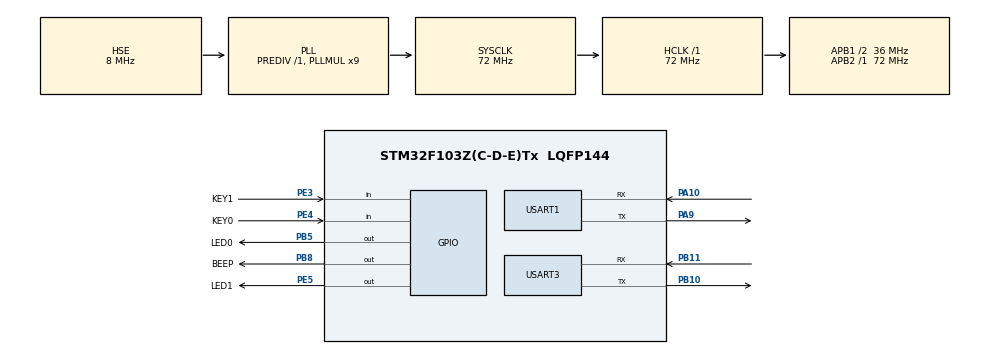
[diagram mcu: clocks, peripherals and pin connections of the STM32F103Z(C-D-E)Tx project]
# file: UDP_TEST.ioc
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Mcu.Family=STM32F1
Mcu.Name=STM32F103Z(C-D-E)Tx
Mcu.Package=LQFP144
NVIC.PriorityGroup=NVIC_PRIORITYGROUP_4
NVIC.USART3_IRQn=true\:0\:0\:false\:false\:true\:true\:true\:true
OSC_IN.Mode=HSE-External-Oscillator
OSC_IN.Signal=RCC_OSC_IN
OSC_OUT.Mode=HSE-External-Oscillator
OSC_OUT.Signal=RCC_OSC_OUT
PA10.Mode=Asynchronous
PA10.Signal=USART1_RX
PA13.Mode=Serial_Wire
PA13.Signal=SYS_JTMS-SWDIO
PA14.Mode=Serial_Wire
PA14.Signal=SYS_JTCK-SWCLK
PA9.Mode=Asynchronous
PA9.Signal=USART1_TX
PB10.Mode=Asynchronous
PB10.Signal=USART3_TX
PB11.Mode=Asynchronous
PB11.Signal=USART3_RX
PB5.GPIO_Label=LED0
PB5.GPIO_Speed=GPIO_SPEED_FREQ_HIGH
PB5.Signal=GPIO_Output
PB8.GPIO_Label=BEEP
PB8.Signal=GPIO_Output
PC14-OSC32_IN.Mode=LSE-External-Oscillator
PC14-OSC32_IN.Signal=RCC_OSC32_IN
PC15-OSC32_OUT.Mode=LSE-External-Oscillator
PC15-OSC32_OUT.Signal=RCC_OSC32_OUT
PE3.GPIO_Label=KEY1
PE3.GPIO_PuPd=GPIO_PULLUP
PE3.Signal=GPIO_Input
PE4.GPIO_Label=KEY0
PE4.GPIO_PuPd=GPIO_PULLUP
PE4.Signal=GPIO_Input
PE5.GPIO_Label=LED1
PE5.GPIO_Speed=GPIO_SPEED_FREQ_HIGH
PE5.PinState=GPIO_PIN_RESET
PE5.Signal=GPIO_Output
ProjectManager.HeapSize=0x200
ProjectManager.StackSize=0x400
ProjectManager.TargetToolchain=MDK-ARM V5
RCC.AHBFreq_Value=72000000
RCC.APB1CLKDivider=RCC_HCLK_DIV2
RCC.APB1Freq_Value=36000000
RCC.APB1TimFreq_Value=72000000
RCC.APB2Freq_Value=72000000
RCC.APB2TimFreq_Value=72000000
RCC.HCLKFreq_Value=72000000
RCC.PLLMUL=RCC_PLL_MUL9
RCC.PLLSourceVirtual=RCC_PLLSOURCE_HSE
RCC.SYSCLKFreq_VALUE=72000000
RCC.SYSCLKSource=RCC_SYSCLKSOURCE_PLLCLK
RCC.USBFreq_Value=72000000
USART1.VirtualMode=VM_ASYNC
USART3.VirtualMode=VM_ASYNC
board=custom

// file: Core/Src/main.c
/* USER CODE BEGIN Header */
/**
  ******************************************************************************
  * @file           : main.c
  * @brief          : Main program body
  ******************************************************************************
  * @attention
  *
  * Copyright (c) 2022 STMicroelectronics.
  * All rights reserved.
  *
  * This software is licensed under terms that can be found in the LICENSE file
  * in the root directory of this software component.
  * If no LICENSE file comes with this software, it is provided AS-IS.
  *
  ******************************************************************************
  */
/* USER CODE END Header */
#include "main.h"
#include "usart.h"
#include "gpio.h"

/* USER CODE BEGIN Includes */
#include "wifi.h"
/* USER CODE END Includes */

void SystemClock_Config(void);

int main(void)
{

  /* MCU Configuration--------------------------------------------------------*/

  /* Reset of all peripherals, Initializes the Flash interface and the Systick. */
  HAL_Init();

  /* Configure the system clock */
  SystemClock_Config();

  /* Initialize all configured peripherals */
  MX_GPIO_Init();
  MX_USART1_UART_Init();
  MX_USART3_UART_Init();
  /* USER CODE BEGIN 2 */
	HAL_UART_Receive_IT(&huart3,(uint8_t *)&USART3_NewData,1);
	USART3_RX_STA = 0;
	LED0_OFF;
	LED1_OFF;
  /* USER CODE END 2 */

  /* Infinite loop */
  /* USER CODE BEGIN WHILE */
  while (1)
  {
	  if(USART3_RX_STA&0x8000)//判断中断接收标志
	  {
		switch(USART3_RX_STA&0x3FFF)//判断接收数据的内容
		{
			case 'A':
				LED0_ON;
				WIFI_TCP_SEND("LED0 ON:OK!\r\n");
			break;
			case 'B':
				LED0_OFF;
				WIFI_TCP_SEND("LED0 OFF:OK!\r\n");
			break;
			case 'C':
				LED1_ON;
				WIFI_TCP_SEND("LED1 ON:OK!\r\n");
			break;
			case 'D':
				LED1_OFF;
				WIFI_TCP_SEND("LED1 OFF:OK!\r\n");
			break;
			case 'E':
				BEEP_ON;
				WIFI_TCP_SEND("BEEP ON:OK!\r\n");
			break;
			case 'F':
				BEEP_OFF;
				WIFI_TCP_SEND("BEEP OFF:OK!\r\n");
			break;
			default:
				break;
		}
		USART3_RX_STA = 0;//标志位清0，准本下次接收
	  }
	  if(KEY_0())
		{
			WIFI_printf("AT+CIPMUX=0\r\n");
			HAL_Delay(100);
			WIFI_printf("AT+CIPSTART=\"UDP\",\"%s\",%s,%s\r\n",ServerIPaddress,ServerIPPort,ClientIPPort);
			HAL_Delay(100);
		}
		if(KEY_1())
		{
			WIFI_UDP_SEND("w6118 上京东\r\n");
			HAL_Delay(100);
		}
    /* USER CODE END WHILE */

  }
}

void SystemClock_Config(void)
{
  RCC_OscInitTypeDef RCC_OscInitStruct = {0};
  RCC_ClkInitTypeDef RCC_ClkInitStruct = {0};

  /** Initializes the RCC Oscillators according to the specified parameters
  * in the RCC_OscInitTypeDef structure.
  */
  RCC_OscInitStruct.OscillatorType = RCC_OSCILLATORTYPE_HSE;
  RCC_OscInitStruct.HSEState = RCC_HSE_ON;
  RCC_OscInitStruct.HSEPredivValue = RCC_HSE_PREDIV_DIV1;
  RCC_OscInitStruct.HSIState = RCC_HSI_ON;
  RCC_OscInitStruct.PLL.PLLState = RCC_PLL_ON;
  RCC_OscInitStruct.PLL.PLLSource = RCC_PLLSOURCE_HSE;
  RCC_OscInitStruct.PLL.PLLMUL = RCC_PLL_MUL9;
  if (HAL_RCC_OscConfig(&RCC_OscInitStruct) != HAL_OK)
  {
    Error_Handler();
  }

  /** Initializes the CPU, AHB and APB buses clocks
  */
  RCC_ClkInitStruct.ClockType = RCC_CLOCKTYPE_HCLK|RCC_CLOCKTYPE_SYSCLK
                              |RCC_CLOCKTYPE_PCLK1|RCC_CLOCKTYPE_PCLK2;
  RCC_ClkInitStruct.SYSCLKSource = RCC_SYSCLKSOURCE_PLLCLK;
  RCC_ClkInitStruct.AHBCLKDivider = RCC_SYSCLK_DIV1;
  RCC_ClkInitStruct.APB1CLKDivider = RCC_HCLK_DIV2;
  RCC_ClkInitStruct.APB2CLKDivider = RCC_HCLK_DIV1;

  if (HAL_RCC_ClockConfig(&RCC_ClkInitStruct, FLASH_LATENCY_2) != HAL_OK)
  {
    Error_Handler();
  }
}

void Error_Handler(void)
{
  __disable_irq();
  while (1)
  {
  }
}
